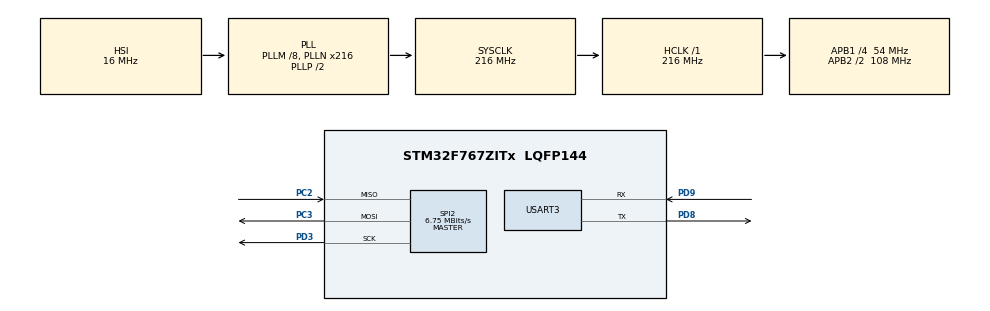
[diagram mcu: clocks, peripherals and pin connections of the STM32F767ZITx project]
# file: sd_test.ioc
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FATFS._MAX_SS=4096
FATFS._USE_LFN=1
Mcu.Family=STM32F7
Mcu.Name=STM32F767ZITx
Mcu.Package=LQFP144
NVIC.PriorityGroup=NVIC_PRIORITYGROUP_4
PA13.Mode=Serial_Wire
PA13.Signal=SYS_JTMS-SWDIO
PA14.Mode=Serial_Wire
PA14.Signal=SYS_JTCK-SWCLK
PC2.Mode=Full_Duplex_Master
PC2.Signal=SPI2_MISO
PC3.Mode=Full_Duplex_Master
PC3.Signal=SPI2_MOSI
PD3.Mode=Full_Duplex_Master
PD3.Signal=SPI2_SCK
PD8.Mode=Asynchronous
PD8.Signal=USART3_TX
PD9.Mode=Asynchronous
PD9.Signal=USART3_RX
ProjectManager.HeapSize=0x200
ProjectManager.StackSize=0x400
ProjectManager.TargetToolchain=MDK-ARM V5
RCC.48MHZClocksFreq_Value=24000000
RCC.AHBFreq_Value=216000000
RCC.APB1CLKDivider=RCC_HCLK_DIV4
RCC.APB1Freq_Value=54000000
RCC.APB1TimFreq_Value=108000000
RCC.APB2CLKDivider=RCC_HCLK_DIV2
RCC.APB2Freq_Value=108000000
RCC.APB2TimFreq_Value=216000000
RCC.CortexFreq_Value=216000000
RCC.HCLKFreq_Value=216000000
RCC.HSE_VALUE=16000000
RCC.HSI_VALUE=16000000
RCC.LSE_VALUE=32768
RCC.PLLM=8
RCC.PLLMUL=RCC_PLL_MUL9
RCC.PLLN=216
RCC.PRESCALERUSB=RCC_USBCLKSOURCE_PLL_DIV1_5
RCC.SYSCLKFreq_VALUE=216000000
RCC.SYSCLKSource=RCC_SYSCLKSOURCE_PLLCLK
RCC.SYSCLKSourceVirtual=RCC_SYSCLKSOURCE_PLLCLK
RCC.USBFreq_Value=216000000
RCC.VCOOutputFreq_Value=432000000
SPI2.BaudRatePrescaler=SPI_BAUDRATEPRESCALER_8
SPI2.CalculateBaudRate=6.75 MBits/s
SPI2.DataSize=SPI_DATASIZE_8BIT
SPI2.Direction=SPI_DIRECTION_2LINES
SPI2.Mode=SPI_MODE_MASTER
SPI2.VirtualType=VM_MASTER
USART3.VirtualMode-Asynchronous=VM_ASYNC
VP_FATFS_VS_Generic.Mode=User_defined
board=NUCLEO-F767ZI

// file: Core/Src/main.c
/* USER CODE BEGIN Header */
/**
  ******************************************************************************
  * @file           : main.c
  * @brief          : Main program body
  ******************************************************************************
  * @attention
  *
  * <h2><center>&copy; Copyright (c) 2019 STMicroelectronics.
  * All rights reserved.</center></h2>
  *
  * This software component is licensed by ST under Ultimate Liberty license
  * SLA0044, the "License"; You may not use this file except in compliance with
  * the License. You may obtain a copy of the License at:
  *                             www.st.com/SLA0044
  *
  ******************************************************************************
  */
/* USER CODE END Header */

#include "main.h"
#include "fatfs.h"
#include "spi.h"
#include "usart.h"
#include "gpio.h"

/* USER CODE BEGIN Includes */
#include <stdio.h>
#include <string.h>
#include <stdarg.h> //for va_list var arg functions
#include "stm32f7xx_hal.h"

/* USER CODE END Includes */

void SystemClock_Config(void);

int main(void)
{

  /* MCU Configuration--------------------------------------------------------*/

  /* Reset of all peripherals, Initializes the Flash interface and the Systick. */
  HAL_Init();

  /* Configure the system clock */
  SystemClock_Config();

  /* Initialize all configured peripherals */
  MX_GPIO_Init();
  MX_SPI2_Init();
  MX_USART3_UART_Init();
  MX_FATFS_Init();
  /* USER CODE BEGIN 2 */

	 //Fatfs object
  FATFS FatFs;
  //File object
  FIL fil;

	FRESULT fres;
	printf("Hello World\r\n");

  /* USER CODE END 2 */

  /* Infinite loop */
  while (1)
  {

    /* USER CODE BEGIN 3 */

		fres = f_mount(&FatFs, "", 1); //1=mount now
		if (fres != FR_OK) {
      printf("f_mount error (%i)\r\n", fres);
      while(1);
    }
		DWORD free_clusters, free_sectors, total_sectors;

		FATFS* getFreeFs;

    fres = f_getfree("", &free_clusters, &getFreeFs);
    if (fres != FR_OK) {
      printf("f_getfree error (%i)\r\n", fres);
      while(1);
    }

		total_sectors = (getFreeFs->n_fatent - 2) * getFreeFs->csize;
    free_sectors = free_clusters * getFreeFs->csize;

		printf("SD card stats:\r\n%10lu KiB total drive space.\r\n%10lu KiB available.\r\n", total_sectors / 2, free_sectors / 2);

		//Try to open file
    fres = f_open(&fil, "test.txt", FA_READ);
    if (fres != FR_OK) {
      printf("f_open error (%i)\r\n", fres);
      while(1);
    }
    printf("I was able to open 'test.txt' for reading!\r\n");

		BYTE readBuf[30];

		//We can either use f_read OR f_gets to get data out of files
    //f_gets is a wrapper on f_read that does some string formatting for us
    TCHAR* rres = f_gets((TCHAR*)readBuf, 30, &fil);
    if(rres != 0) {
      printf("Read string from 'test.txt' contents: %s\r\n", readBuf);
    } else {
      printf("f_gets error (%i)\r\n", fres);
    }

		//Close file, don't forget this!
    f_close(&fil);

		//Write
		fres = f_open(&fil, "write.txt", FA_WRITE | FA_OPEN_ALWAYS | FA_CREATE_ALWAYS);
    if(fres == FR_OK) {
      printf("I was able to open 'write.txt' for writing\r\n");
    } else {
      printf("f_open error (%i)\r\n", fres);
    }

		strncpy((char*)readBuf, "a new file is made!", 19);
    UINT bytesWrote;
    fres = f_write(&fil, readBuf, 19, &bytesWrote);
    if(fres == FR_OK) {
      printf("Wrote %i bytes to 'write.txt'!\r\n", bytesWrote);
    } else {
      printf("f_write error (%i)\r\n", fres);
    }
		//Close file, don't forget this!
    f_close(&fil);

		//De-mount drive
    f_mount(NULL, "", 0);

		while(1);//do not use this

  }
  /* USER CODE END 3 */
}

void SystemClock_Config(void)
{
  RCC_OscInitTypeDef RCC_OscInitStruct = {0};
  RCC_ClkInitTypeDef RCC_ClkInitStruct = {0};
  RCC_PeriphCLKInitTypeDef PeriphClkInitStruct = {0};

  /** Configure the main internal regulator output voltage
  */
  __HAL_RCC_PWR_CLK_ENABLE();
  __HAL_PWR_VOLTAGESCALING_CONFIG(PWR_REGULATOR_VOLTAGE_SCALE1);
  /** Initializes the CPU, AHB and APB busses clocks
  */
  RCC_OscInitStruct.OscillatorType = RCC_OSCILLATORTYPE_HSI;
  RCC_OscInitStruct.HSIState = RCC_HSI_ON;
  RCC_OscInitStruct.HSICalibrationValue = RCC_HSICALIBRATION_DEFAULT;
  RCC_OscInitStruct.PLL.PLLState = RCC_PLL_ON;
  RCC_OscInitStruct.PLL.PLLSource = RCC_PLLSOURCE_HSI;
  RCC_OscInitStruct.PLL.PLLM = 8;
  RCC_OscInitStruct.PLL.PLLN = 216;
  RCC_OscInitStruct.PLL.PLLP = RCC_PLLP_DIV2;
  RCC_OscInitStruct.PLL.PLLQ = 2;
  if (HAL_RCC_OscConfig(&RCC_OscInitStruct) != HAL_OK)
  {
    Error_Handler();
  }
  /** Activate the Over-Drive mode
  */
  if (HAL_PWREx_EnableOverDrive() != HAL_OK)
  {
    Error_Handler();
  }
  /** Initializes the CPU, AHB and APB busses clocks
  */
  RCC_ClkInitStruct.ClockType = RCC_CLOCKTYPE_HCLK|RCC_CLOCKTYPE_SYSCLK
                              |RCC_CLOCKTYPE_PCLK1|RCC_CLOCKTYPE_PCLK2;
  RCC_ClkInitStruct.SYSCLKSource = RCC_SYSCLKSOURCE_PLLCLK;
  RCC_ClkInitStruct.AHBCLKDivider = RCC_SYSCLK_DIV1;
  RCC_ClkInitStruct.APB1CLKDivider = RCC_HCLK_DIV4;
  RCC_ClkInitStruct.APB2CLKDivider = RCC_HCLK_DIV2;

  if (HAL_RCC_ClockConfig(&RCC_ClkInitStruct, FLASH_LATENCY_7) != HAL_OK)
  {
    Error_Handler();
  }
  PeriphClkInitStruct.PeriphClockSelection = RCC_PERIPHCLK_USART3;
  PeriphClkInitStruct.Usart3ClockSelection = RCC_USART3CLKSOURCE_PCLK1;
  if (HAL_RCCEx_PeriphCLKConfig(&PeriphClkInitStruct) != HAL_OK)
  {
    Error_Handler();
  }
}

void Error_Handler(void)
{
}

/************************ (C) COPYRIGHT STMicroelectronics *****END OF FILE****/
